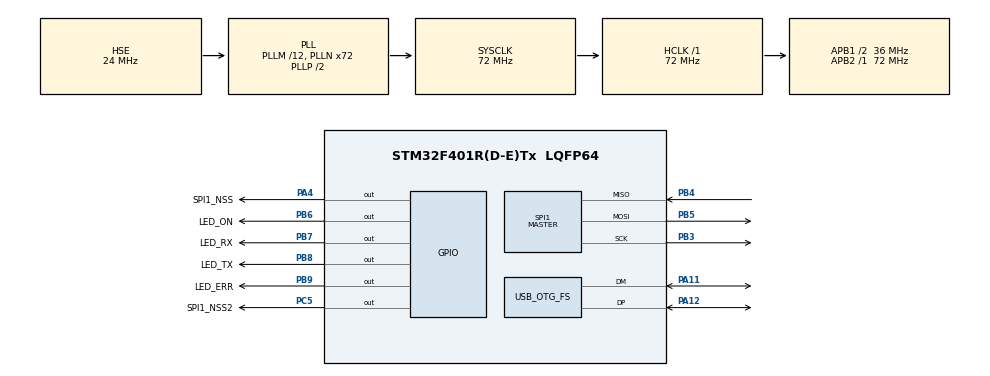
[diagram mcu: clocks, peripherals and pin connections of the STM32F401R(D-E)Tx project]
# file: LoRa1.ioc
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Mcu.Family=STM32F4
Mcu.Name=STM32F401R(D-E)Tx
Mcu.Package=LQFP64
NVIC.OTG_FS_IRQn=true\:0\:0\:false\:false\:true\:false\:true\:true
NVIC.PriorityGroup=NVIC_PRIORITYGROUP_4
PA11.Mode=Device_Only
PA11.Signal=USB_OTG_FS_DM
PA12.Mode=Device_Only
PA12.Signal=USB_OTG_FS_DP
PA13.Mode=Serial_Wire
PA13.Signal=SYS_JTMS-SWDIO
PA14.Mode=Serial_Wire
PA14.Signal=SYS_JTCK-SWCLK
PA4.GPIO_Label=SPI1_NSS
PA4.GPIO_Speed=GPIO_SPEED_FREQ_HIGH
PA4.PinState=GPIO_PIN_SET
PA4.Signal=GPIO_Output
PB3.Mode=Full_Duplex_Master
PB3.Signal=SPI1_SCK
PB4.Mode=Full_Duplex_Master
PB4.Signal=SPI1_MISO
PB5.Mode=Full_Duplex_Master
PB5.Signal=SPI1_MOSI
PB6.GPIO_Label=LED_ON
PB6.Signal=GPIO_Output
PB7.GPIO_Label=LED_RX
PB7.Signal=GPIO_Output
PB8.GPIO_Label=LED_TX
PB8.Signal=GPIO_Output
PB9.GPIO_Label=LED_ERR
PB9.Signal=GPIO_Output
PC5.GPIO_Label=SPI1_NSS2
PC5.Signal=GPIO_Output
PH0\ -\ OSC_IN.Mode=HSE-External-Oscillator
PH0\ -\ OSC_IN.Signal=RCC_OSC_IN
PH1\ -\ OSC_OUT.Mode=HSE-External-Oscillator
PH1\ -\ OSC_OUT.Signal=RCC_OSC_OUT
ProjectManager.HeapSize=0x200
ProjectManager.StackSize=0x400
ProjectManager.TargetToolchain=STM32CubeIDE
RCC.48MHZClocksFreq_Value=48000000
RCC.AHBFreq_Value=72000000
RCC.APB1CLKDivider=RCC_HCLK_DIV2
RCC.APB1Freq_Value=36000000
RCC.APB1TimFreq_Value=72000000
RCC.APB2Freq_Value=72000000
RCC.APB2TimFreq_Value=72000000
RCC.CortexFreq_Value=72000000
RCC.EnbaleCSS=true
RCC.HCLKFreq_Value=72000000
RCC.HSE_VALUE=24000000
RCC.HSI_VALUE=16000000
RCC.LSE_VALUE=32768
RCC.PLLM=12
RCC.PLLN=72
RCC.PLLQ=3
RCC.SYSCLKFreq_VALUE=72000000
RCC.SYSCLKSource=RCC_SYSCLKSOURCE_PLLCLK
RCC.VCOOutputFreq_Value=144000000
SPI1.BaudRatePrescaler=SPI_BAUDRATEPRESCALER_16
SPI1.Direction=SPI_DIRECTION_2LINES
SPI1.Mode=SPI_MODE_MASTER
SPI1.VirtualType=VM_MASTER
USB_DEVICE.APP_RX_DATA_SIZE-CDC_FS=320
USB_DEVICE.APP_TX_DATA_SIZE-CDC_FS=320
USB_DEVICE.CLASS_NAME_FS=CDC
USB_DEVICE.PRODUCT_STRING_CDC_FS=LOL_LOX_LOL
USB_DEVICE.VirtualMode-CDC_FS=Cdc
USB_DEVICE.VirtualModeFS=Cdc_FS
USB_OTG_FS.VirtualMode=Device_Only
VP_USB_DEVICE_VS_USB_DEVICE_CDC_FS.Mode=CDC_FS
board=custom

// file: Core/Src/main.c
/* USER CODE BEGIN Header */
/**
 ******************************************************************************
 * @file           : main.c
 * @brief          : Main program body
 ******************************************************************************
 * @attention
 *
 * Copyright (c) 2024 STMicroelectronics.
 * All rights reserved.
 *
 * This software is licensed under terms that can be found in the LICENSE file
 * in the root directory of this software component.
 * If no LICENSE file comes with this software, it is provided AS-IS.
 *
 ******************************************************************************
 */
/* USER CODE END Header */
#include "main.h"
#include "usb_device.h"

/* USER CODE BEGIN Includes */
#include "myLoRa.h"

#include "usbd_core.h"
#include "usbd_desc.h"
#include "usbd_cdc.h"
#include "usbd_cdc_if.h"
/* USER CODE END Includes */

SPI_HandleTypeDef hspi1;

/* USER CODE BEGIN PV */
uint8_t receiveData[255];

extern USBD_HandleTypeDef hUsbDeviceFS;
USBD_CDC_HandleTypeDef *hCDC;
/* USER CODE END PV */

void SystemClock_Config(void);
static void MX_GPIO_Init(void);
static void MX_SPI1_Init(void);

int main(void) {

	/* MCU Configuration--------------------------------------------------------*/

	/* Reset of all peripherals, Initializes the Flash interface and the Systick. */
	HAL_Init();

	/* Configure the system clock */
	SystemClock_Config();

	/* Initialize all configured peripherals */
	MX_GPIO_Init();
	MX_SPI1_Init();
	MX_USB_DEVICE_Init();
	/* USER CODE BEGIN 2 */

	HAL_GPIO_TogglePin(LED_ON_GPIO_Port, LED_ON_Pin);
	HAL_GPIO_TogglePin(LED_ERR_GPIO_Port, LED_ERR_Pin);
	HAL_GPIO_TogglePin(LED_RX_GPIO_Port, LED_RX_Pin);
	HAL_GPIO_TogglePin(LED_TX_GPIO_Port, LED_TX_Pin);
	HAL_Delay(2000);
	HAL_GPIO_TogglePin(LED_ON_GPIO_Port, LED_ON_Pin);
	HAL_GPIO_TogglePin(LED_ERR_GPIO_Port, LED_ERR_Pin);
	HAL_GPIO_TogglePin(LED_RX_GPIO_Port, LED_RX_Pin);
	HAL_GPIO_TogglePin(LED_TX_GPIO_Port, LED_TX_Pin);

	while (!hUsbDeviceFS.ep_in[CDC_IN_EP & 0xFU].is_used) {
		LED_ERR_GPIO_Port->ODR |= LED_ERR_Pin;
		HAL_Delay(100);
		LED_ERR_GPIO_Port->ODR &= ~LED_ERR_Pin;
		HAL_Delay(100);
	}

	hCDC = (USBD_CDC_HandleTypeDef*) hUsbDeviceFS.pClassData;

	HAL_Delay(100);

	if (LORA_Init(&hspi1, SPI1_NSS_GPIO_Port, SPI1_NSS_Pin)) {
		LED_ERR_GPIO_Port->ODR |= LED_ERR_Pin;
		HAL_Delay(500);
		LED_ERR_GPIO_Port->ODR &= ~LED_ERR_Pin;

	} else {
		LED_ON_GPIO_Port->ODR |= LED_ON_Pin;
		HAL_Delay(500);
		LED_ON_GPIO_Port->ODR &= ~LED_ON_Pin;
	}

	/* USER CODE END 2 */

	/* Infinite loop */
	/* USER CODE BEGIN WHILE */
	while (1) {
		uint8_t packetSize = LORA_ReceiveData(receiveData);

		if (packetSize) {
			CDC_Transmit_FS(receiveData, packetSize);
			HAL_GPIO_TogglePin(LED_RX_GPIO_Port, LED_RX_Pin);
		}

		if (hCDC->RxLength) {
			LED_TX_GPIO_Port->ODR |= LED_TX_Pin;

			LORA_TransmitData(hCDC->RxBuffer, hCDC->RxLength);
			hCDC->RxLength = 0;

			LED_TX_GPIO_Port->ODR &= ~LED_TX_Pin;
		}

		/* USER CODE END WHILE */

	}
}

void SystemClock_Config(void) {
	RCC_OscInitTypeDef RCC_OscInitStruct = { 0 };
	RCC_ClkInitTypeDef RCC_ClkInitStruct = { 0 };

	/** Configure the main internal regulator output voltage
	 */
	__HAL_RCC_PWR_CLK_ENABLE();
	__HAL_PWR_VOLTAGESCALING_CONFIG(PWR_REGULATOR_VOLTAGE_SCALE2);

	/** Initializes the RCC Oscillators according to the specified parameters
	 * in the RCC_OscInitTypeDef structure.
	 */
	RCC_OscInitStruct.OscillatorType = RCC_OSCILLATORTYPE_HSE;
	RCC_OscInitStruct.HSEState = RCC_HSE_ON;
	RCC_OscInitStruct.PLL.PLLState = RCC_PLL_ON;
	RCC_OscInitStruct.PLL.PLLSource = RCC_PLLSOURCE_HSE;
	RCC_OscInitStruct.PLL.PLLM = 12;
	RCC_OscInitStruct.PLL.PLLN = 72;
	RCC_OscInitStruct.PLL.PLLP = RCC_PLLP_DIV2;
	RCC_OscInitStruct.PLL.PLLQ = 3;
	if (HAL_RCC_OscConfig(&RCC_OscInitStruct) != HAL_OK) {
		Error_Handler();
	}

	/** Initializes the CPU, AHB and APB buses clocks
	 */
	RCC_ClkInitStruct.ClockType = RCC_CLOCKTYPE_HCLK | RCC_CLOCKTYPE_SYSCLK
			| RCC_CLOCKTYPE_PCLK1 | RCC_CLOCKTYPE_PCLK2;
	RCC_ClkInitStruct.SYSCLKSource = RCC_SYSCLKSOURCE_PLLCLK;
	RCC_ClkInitStruct.AHBCLKDivider = RCC_SYSCLK_DIV1;
	RCC_ClkInitStruct.APB1CLKDivider = RCC_HCLK_DIV2;
	RCC_ClkInitStruct.APB2CLKDivider = RCC_HCLK_DIV1;

	if (HAL_RCC_ClockConfig(&RCC_ClkInitStruct, FLASH_LATENCY_2) != HAL_OK) {
		Error_Handler();
	}

	/** Enables the Clock Security System
	 */
	HAL_RCC_EnableCSS();
}

static void MX_SPI1_Init(void) {

	/* SPI1 parameter configuration*/
	hspi1.Instance = SPI1;
	hspi1.Init.Mode = SPI_MODE_MASTER;
	hspi1.Init.Direction = SPI_DIRECTION_2LINES;
	hspi1.Init.DataSize = SPI_DATASIZE_8BIT;
	hspi1.Init.CLKPolarity = SPI_POLARITY_LOW;
	hspi1.Init.CLKPhase = SPI_PHASE_1EDGE;
	hspi1.Init.NSS = SPI_NSS_SOFT;
	hspi1.Init.BaudRatePrescaler = SPI_BAUDRATEPRESCALER_16;
	hspi1.Init.FirstBit = SPI_FIRSTBIT_MSB;
	hspi1.Init.TIMode = SPI_TIMODE_DISABLE;
	hspi1.Init.CRCCalculation = SPI_CRCCALCULATION_DISABLE;
	hspi1.Init.CRCPolynomial = 10;
	if (HAL_SPI_Init(&hspi1) != HAL_OK) {
		Error_Handler();
	}

}

static void MX_GPIO_Init(void) {
	GPIO_InitTypeDef GPIO_InitStruct = { 0 };

	/* GPIO Ports Clock Enable */
	__HAL_RCC_GPIOH_CLK_ENABLE();
	__HAL_RCC_GPIOA_CLK_ENABLE();
	__HAL_RCC_GPIOC_CLK_ENABLE();
	__HAL_RCC_GPIOB_CLK_ENABLE();

	/*Configure GPIO pin Output Level */
	HAL_GPIO_WritePin(SPI1_NSS_GPIO_Port, SPI1_NSS_Pin, GPIO_PIN_SET);

	/*Configure GPIO pin Output Level */
	HAL_GPIO_WritePin(SPI1_NSS2_GPIO_Port, SPI1_NSS2_Pin, GPIO_PIN_RESET);

	/*Configure GPIO pin Output Level */
	HAL_GPIO_WritePin(GPIOB, LED_ON_Pin | LED_RX_Pin | LED_TX_Pin | LED_ERR_Pin,
			GPIO_PIN_RESET);

	/*Configure GPIO pin : SPI1_NSS_Pin */
	GPIO_InitStruct.Pin = SPI1_NSS_Pin;
	GPIO_InitStruct.Mode = GPIO_MODE_OUTPUT_PP;
	GPIO_InitStruct.Pull = GPIO_NOPULL;
	GPIO_InitStruct.Speed = GPIO_SPEED_FREQ_HIGH;
	HAL_GPIO_Init(SPI1_NSS_GPIO_Port, &GPIO_InitStruct);

	/*Configure GPIO pin : SPI1_NSS2_Pin */
	GPIO_InitStruct.Pin = SPI1_NSS2_Pin;
	GPIO_InitStruct.Mode = GPIO_MODE_OUTPUT_PP;
	GPIO_InitStruct.Pull = GPIO_NOPULL;
	GPIO_InitStruct.Speed = GPIO_SPEED_FREQ_LOW;
	HAL_GPIO_Init(SPI1_NSS2_GPIO_Port, &GPIO_InitStruct);

	/*Configure GPIO pins : LED_ON_Pin LED_RX_Pin LED_TX_Pin LED_ERR_Pin */
	GPIO_InitStruct.Pin = LED_ON_Pin | LED_RX_Pin | LED_TX_Pin | LED_ERR_Pin;
	GPIO_InitStruct.Mode = GPIO_MODE_OUTPUT_PP;
	GPIO_InitStruct.Pull = GPIO_NOPULL;
	GPIO_InitStruct.Speed = GPIO_SPEED_FREQ_LOW;
	HAL_GPIO_Init(GPIOB, &GPIO_InitStruct);

}

void Error_Handler(void) {
	__disable_irq();
	while (1) {
	}
}
